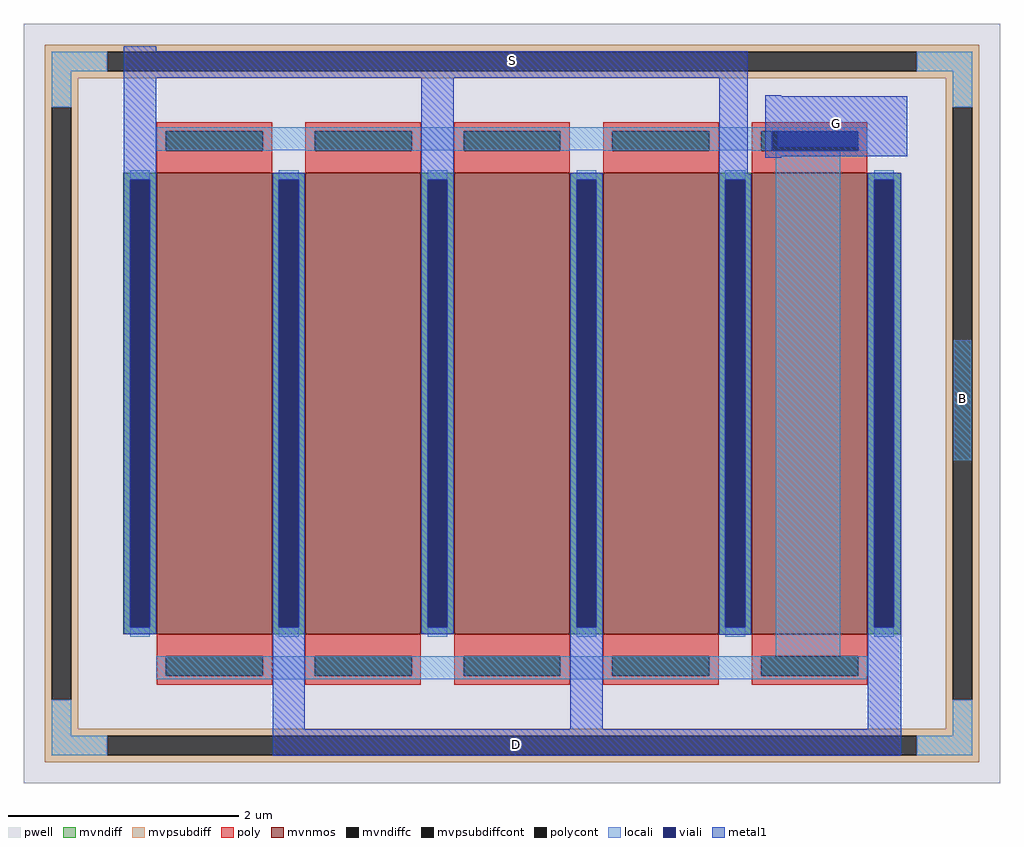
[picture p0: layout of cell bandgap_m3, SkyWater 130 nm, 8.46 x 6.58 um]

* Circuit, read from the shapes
.subckt bandgap_m3 D G S B
XM1 D G S B sky130_fd_pr__nfet_g5v0d10v5 w=4 l=1 m=5
.ends

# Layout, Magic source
magic
tech sky130A
magscale 1 2
<< locali >>
rect 164 1032 1396 1072
rect 1547 495 1577 703
rect 164 115 1396 155
<< metal1 >>
rect 684 1172 888 1200
rect 1242 1038 1442 1112
rect 704 -16 874 16
use sky130_fd_pr__nfet_g5v0d10v5_SNXN39  sky130_fd_pr__nfet_g5v0d10v5_SNXN39_0
transform 1 0 781 0 1 593
box -846 -658 846 658
<< labels >>
flabel metal1 788 2 788 2 0 FreeSans 800 0 0 0 D
port 0 nsew
flabel metal1 1344 1078 1344 1078 0 FreeSans 800 0 0 0 G
port 1 nsew
flabel metal1 782 1188 782 1188 0 FreeSans 800 0 0 0 S
port 2 nsew
flabel locali 1562 602 1562 602 0 FreeSans 800 0 0 0 B
port 3 nsew
<< end >>

# cell sky130_fd_pr__nfet_g5v0d10v5_SNXN39: kit device sky130_fd_pr__nfet_g5v0d10v5, w 4 l 1 m 1 nf 5 diffcov 100 polycov 100 guard 1 glc 1 grc 1 gtc 1 gbc 1 tbcov 100 rlcov 100 topc 1 botc 1 poverlap 0 doverlap 1 lmin 0.50 wmin 0.42 class mosfet compatible {sky130_fd_pr__nfet_01v8 sky130_fd_pr__nfet_01v8_lvt sky130_fd_bs_flash__special_sonosfet_star sky130_fd_pr__nfet_g5v0d10v5 sky130_fd_pr__nfet_05v0_nvt sky130_fd_pr__nfet_03v3_nvt} full_metal 1 conn_gates 0 viasrc 100 viadrn 100 viagate 100 viagb 0 viagr 0 viagl 0 viagt 0 doports 1
